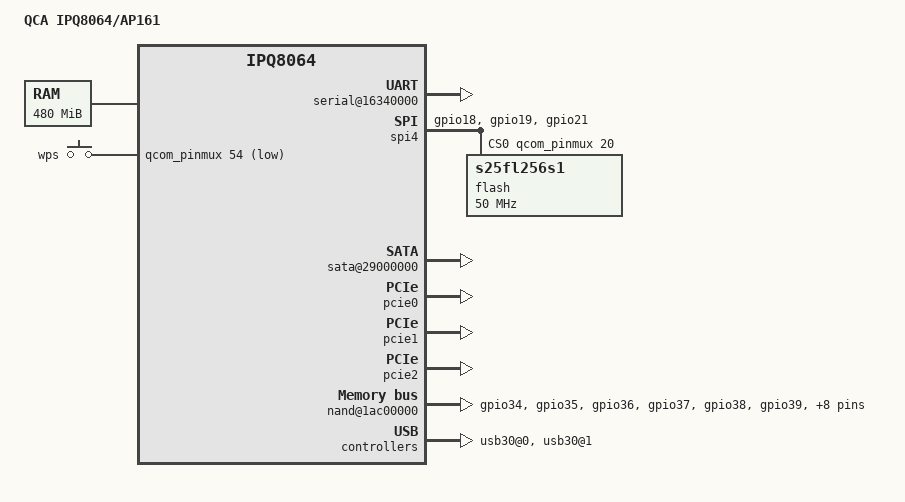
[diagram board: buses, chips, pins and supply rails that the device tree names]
/* Copyright (c) 2015, 2016 The Linux Foundation. All rights reserved.
 *
 * Permission to use, copy, modify, and/or distribute this software for any
 * purpose with or without fee is hereby granted, provided that the above
 * copyright notice and this permission notice appear in all copies.
 *
 * THE SOFTWARE IS PROVIDED "AS IS" AND THE AUTHOR DISCLAIMS ALL WARRANTIES
 * WITH REGARD TO THIS SOFTWARE INCLUDING ALL IMPLIED WARRANTIES OF
 * MERCHANTABILITY AND FITNESS. IN NO EVENT SHALL THE AUTHOR BE LIABLE FOR
 * ANY SPECIAL, DIRECT, INDIRECT, OR CONSEQUENTIAL DAMAGES OR ANY DAMAGES
 * WHATSOEVER RESULTING FROM LOSS OF USE, DATA OR PROFITS, WHETHER IN AN
 * ACTION OF CONTRACT, NEGLIGENCE OR OTHER TORTIOUS ACTION, ARISING OUT OF
 * OR IN CONNECTION WITH THE USE OR PERFORMANCE OF THIS SOFTWARE.
 *
 */

#include <dt-bindings/interrupt-controller/arm-gic.h>
#include <dt-bindings/input/input.h>
#include <dt-bindings/gpio/gpio.h>

/ {
	model = "QCA IPQ8064/AP161";
	compatible = "qcom,ipq8064-ap161", "qcom,ipq8064";

	aliases {
		serial0 = &uart4;
	};

	chosen {
		stdout-path = "serial0:115200n8";
	};

	memory@0 {
		reg = <0x42000000 0x1e000000>;
		device_type = "memory";
	};

	reserved-memory {
		#address-cells = <1>;
		#size-cells = <1>;
		ranges;
		rsvd@41200000 {
			reg = <0x41200000 0x300000>;
			no-map;
		};
	};

	soc {
		pinmux@800000 {
			pinctrl-0 = <&leds_pins>;
			i2c4_pins: i2c4_pinmux {
				pins = "gpio12", "gpio13";
				function = "gsbi4";
				bias-disable;
			};

			spi_pins: spi_pins {
				mux {
					pins = "gpio18", "gpio19", "gpio21";
					function = "gsbi5";
					drive-strength = <10>;
					bias-none;
				};
			};
			nand_pins: nand_pins {
				mux {
					pins = "gpio34", "gpio35", "gpio36",
					       "gpio37", "gpio38", "gpio39",
					       "gpio40", "gpio41", "gpio42",
					       "gpio43", "gpio44", "gpio45",
					       "gpio46", "gpio47";
					function = "nand";
					drive-strength = <10>;
					bias-disable;
				};
				pullups {
					pins = "gpio39";
					bias-pull-up;
				};
				hold {
					pins = "gpio40", "gpio41", "gpio42",
					       "gpio43", "gpio44", "gpio45",
					       "gpio46", "gpio47";
					bias-bus-hold;
				};
			};

			button_pins: button_pinmux {
				mux {
					pins = "gpio54";
					drive-strength = <2>;
					bias-pull-up;
				};
			};

			leds_pins: leds_pinmux {
				mux {
					pins = "gpio7", "gpio8", "gpio9",
					       "gpio26", "gpio53";
					function = "gpio";
					drive-strength = <2>;
					bias-pull-down;
					output-low;
				};
			};
		};

		gsbi@16300000 {
			qcom,mode = <GSBI_PROT_I2C_UART>;
			status = "ok";
			serial@16340000 {
				status = "ok";
			};
			/*
			 * The i2c device on gsbi4 should not be enabled.
			 * On ipq806x designs gsbi4 i2c is meant for exclusive
			 * RPM usage. Turning this on in kernel manifests as
			 * i2c failure for the RPM.
			 */
		};

		gsbi5: gsbi@1a200000 {
			qcom,mode = <GSBI_PROT_SPI>;
			status = "ok";

			spi4: spi@1a280000 {
				status = "ok";
				spi-max-frequency = <50000000>;

				pinctrl-0 = <&spi_pins>;
				pinctrl-names = "default";

				cs-gpios = <&qcom_pinmux 20 0>;

				flash: m25p80@0 {
					compatible = "s25fl256s1";
					#address-cells = <1>;
					#size-cells = <1>;
					spi-max-frequency = <50000000>;
					reg = <0>;

					m25p,fast-read;
				};
			};
		};

		sata-phy@1b400000 {
			status = "ok";
		};

		sata@29000000 {
			ports-implemented = <0x1>;
			status = "ok";
		};

		pcie0: pci@1b500000 {
			status = "ok";
		};

		pcie1: pci@1b700000 {
			status = "ok";
		};

		pcie2: pci@1b900000 {
			status = "ok";
		};

		nand@1ac00000 {
			status = "ok";

			pinctrl-0 = <&nand_pins>;
			pinctrl-names = "default";

			nand-ecc-strength = <4>;
			nand-bus-width = <8>;
		};

		phy@100f8800 {
			status = "ok";
		};

		phy@100f8830 {
			status = "ok";
		};

		usb30@0 {
			status = "ok";
		};

		phy@110f8800 {
			status = "ok";
		};

		phy@110f8830 {
			status = "ok";
		};

		usb30@1 {
			status = "ok";
		};

		gpio_keys {
			compatible = "gpio-keys";
			pinctrl-0 = <&button_pins>;
			pinctrl-names = "default";

			button@1 {
				label = "wps";
				linux,code = <KEY_WPS_BUTTON>;
				gpios = <&qcom_pinmux 54 GPIO_ACTIVE_LOW>;
				linux,input-type = <1>;
				debounce-interval = <60>;
			};

		};
	};
};

&adm_dma {
	status = "ok";
};
